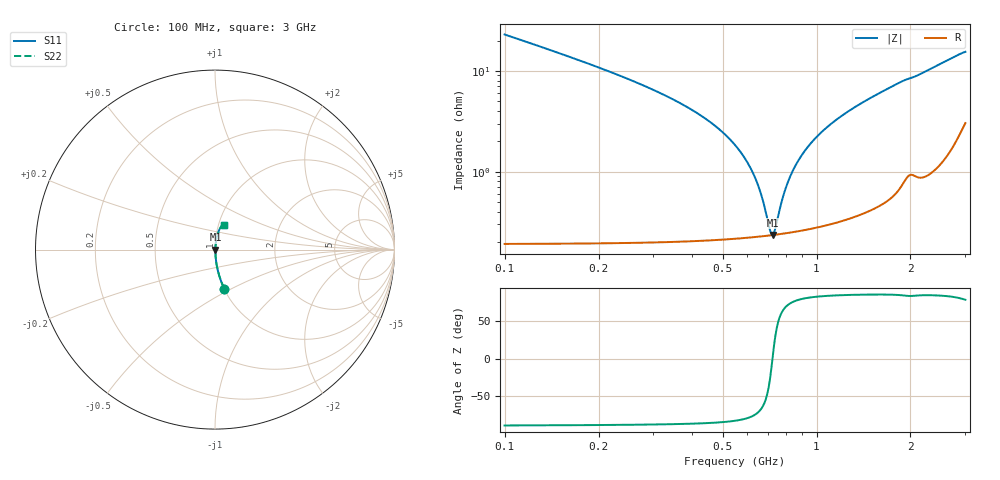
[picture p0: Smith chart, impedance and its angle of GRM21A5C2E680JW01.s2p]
!Murata Part Number: GRM21A5C2E680JW01
!These Parameters are Measured in Series Mode Connection
!Data Generated on Mar 30, 2021
!  o--ll--o
!Port1  Port2
!  o------o
!Operation Temp=25[degC], DC Bias Voltage=0[V]
!Freq. Start=100[MHz] Stop=3[GHz] 401[Steps]
# Hz S RI R 50
!Freq.(Hz) S11(Real) S11(Imag) S21(Real) S21(Imag) S12(Real) S12(Imag) S22(Real) S22(Imag)
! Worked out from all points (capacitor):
!   401 points, 100 MHz to 3 GHz, reference 50 ohm
!   read as one part in series: C = 68 pF near 114.5 MHz
!   lowest |Z| = 235 mohm at 723.5 MHz (marker M1)
!   series resonance near 722.3 MHz, so ESL is about 710 pH
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1e8  0.0517 -0.2173  0.9483 0.2173  0.9483 0.2173  0.0517 -0.2173
1.725e8  0.018 -0.1255  0.982 0.1255  0.982 0.1255  0.018 -0.1255
2.5225e8  0.00853 -0.0807  0.9915 0.0807  0.9915 0.0807  0.00853 -0.0807
4.77e8  0.00286 -0.0277  0.9971 0.0277  0.9971 0.0277  0.00286 -0.0277
5.35e8  0.00253 -0.0198  0.9975 0.0198  0.9975 0.0198  0.00253 -0.0198
5.8575e8  0.00238 -0.0137  0.9976 0.0137  0.9976 0.0137  0.00238 -0.0137
6.4375e8  0.00231 -0.00751  0.9977 0.00751  0.9977 0.00751  0.00231 -0.00751
6.655e8  0.0023 -0.00534  0.9977 0.00534  0.9977 0.00534  0.0023 -0.00534
7.09e8  0.00233 -0.00122  0.9977 0.00122  0.9977 0.00122  0.00233 -0.00122
7.235e8  0.00234 0.000104  0.9977 -0.000104  0.9977 -0.000104  0.00234 0.000104
7.38e8  0.00237 0.0014  0.9976 -0.0014  0.9976 -0.0014  0.00237 0.0014
7.7425e8  0.00243 0.00453  0.9976 -0.00453  0.9976 -0.00453  0.00243 0.00453
7.96e8  0.00248 0.00635  0.9975 -0.00635  0.9975 -0.00635  0.00248 0.00635
8.54e8  0.00265 0.011  0.9974 -0.011  0.9974 -0.011  0.00265 0.011
9.4825e8  0.00301 0.0181  0.997 -0.0181  0.997 -0.0181  0.00301 0.0181
1.0715e9  0.00363 0.0267  0.9964 -0.0267  0.9964 -0.0267  0.00363 0.0267
1.2745e9  0.005 0.0399  0.995 -0.0399  0.995 -0.0399  0.005 0.0399
1.55e9  0.00761 0.0568  0.9924 -0.0568  0.9924 -0.0568  0.00761 0.0568
1.84725e9  0.0124 0.0749  0.9876 -0.0749  0.9876 -0.0749  0.0124 0.0749
2.03575e9  0.0163 0.0836  0.9837 -0.0836  0.9837 -0.0836  0.0163 0.0836
2.5215e9  0.0255 0.1143  0.9745 -0.1143  0.9745 -0.1143  0.0255 0.1143
3e9  0.05 0.1398  0.95 -0.1398  0.95 -0.1398  0.05 0.1398
